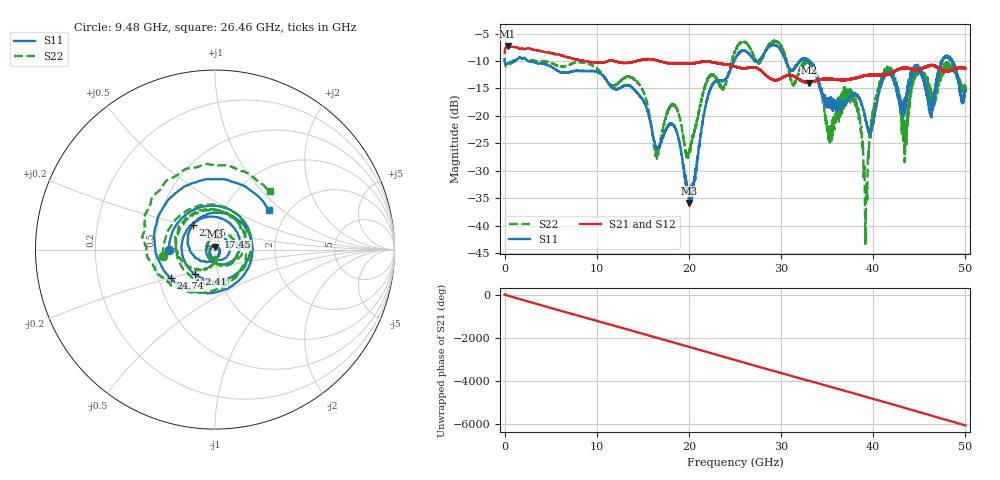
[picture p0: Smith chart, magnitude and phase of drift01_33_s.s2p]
!Created with skrf (http://scikit-rf.org).
# Hz S RI R 50.0
!freq ReS11 ImS11 ReS21 ImS21 ReS12 ImS12 ReS22 ImS22
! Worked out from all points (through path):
!   10001 points, 300 kHz to 50 GHz, reference 50 ohm
!   highest |S21| = -7.33 dB at 325.3 MHz (marker M1); lowest = -14.0 dB at 33.02 GHz (marker M2)
!   group delay of S21, straight-line fit = 335 ps
!   lowest |S11| = -35.9 dB at 20.01 GHz (marker M3), VSWR 1.03, Z = 49.9 + j1.61 ohm
!   |S11| at or under -10 dB: 2.553 GHz to 24.9 GHz (22.35 GHz wide, 163 % of centre); 30.51 GHz to 32.02 GHz (1.508 GHz wide, 4.82 % of centre); 33.07 GHz to 47.43 GHz (14.36 GHz wide, 35.7 % of centre) (the widest 3 of 19)
!   |S22| runs from -43.7 to -6.2 dB; largest |S21 - S12| = 0.0077
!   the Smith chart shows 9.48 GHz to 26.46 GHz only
!   S11 on the Smith chart (normalised r, x): 9.48 GHz: 0.59, -0.00; 12.41 GHz: 0.77, -0.22; 17.45 GHz: 1.02, +0.15; 22.45 GHz: 0.75, +0.22; 24.74 GHz: 0.58, -0.20; 26.46 GHz: 1.61, +0.82
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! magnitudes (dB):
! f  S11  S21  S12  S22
! 300 kHz  -9.6  -8.5  -8.5  -9.5
! 325.3 MHz  -10.5  -7.3  -7.3  -10.9
! 8.335 GHz  -11.8  -9.9  -9.9  -10.2
! 9.48 GHz  -11.8  -10.2  -10.2  -10.7
! 12.41 GHz  -15.0  -10.2  -10.2  -13.9
! 16.67 GHz  -26.0  -10.0  -10.0  -27.0
! 17.45 GHz  -22.7  -10.3  -10.3  -20.6
! 20.01 GHz  -35.9  -10.5  -10.5  -26.5
! 22.45 GHz  -14.6  -10.2  -10.2  -12.6
! 24.74 GHz  -10.7  -10.9  -10.9  -9.5
! 25 GHz  -9.6  -11.0  -11.0  -8.3
! 26.46 GHz  -8.6  -11.2  -11.2  -7.2
! 33.02 GHz  -9.9  -14.0  -13.9  -10.1
! 33.34 GHz  -10.7  -13.9  -13.8  -10.5
! 35.23 GHz  -17.5  -13.3  -13.3  -21.9
! 37.96 GHz  -15.9  -13.1  -13.2  -17.2
! 39.17 GHz  -20.7  -12.7  -12.7  -41.4
! 40.14 GHz  -19.9  -12.5  -12.5  -17.8
! 41.67 GHz  -12.1  -12.3  -12.3  -11.4
! 43.39 GHz  -17.3  -11.2  -11.2  -23.9
! 44.88 GHz  -11.4  -11.6  -11.6  -11.7
! 50 GHz  -15.3  -11.4  -11.4  -15.0
